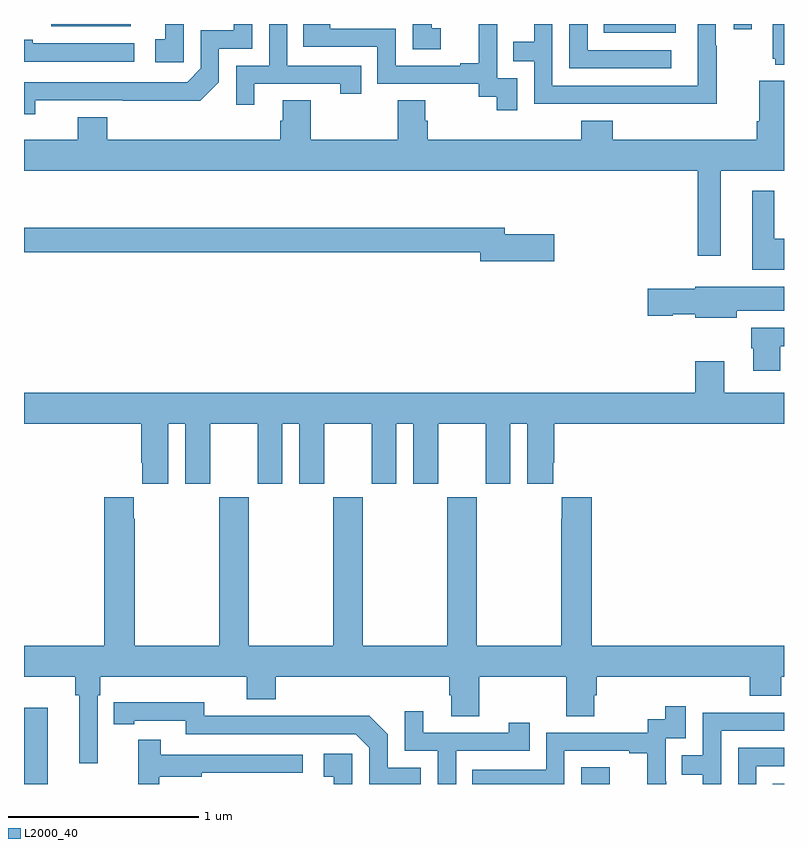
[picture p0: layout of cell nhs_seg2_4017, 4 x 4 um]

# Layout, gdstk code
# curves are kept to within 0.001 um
import gdstk
lib = gdstk.Library(unit=1e-6, precision=1e-09)
def R(c, l, rs):  # rectangles x0, y0, x1, y1
    for r in rs: c.add(gdstk.rectangle(r[:2], r[2:], *l))
def P(c, l, *ps):  # polygons
    for p in ps: c.add(gdstk.Polygon(p, *l))
L2000_40 = (2000, 40)

nhs_seg2_4017 = lib.new_cell('nhs_seg2_4017')
R(nhs_seg2_4017, L2000_40, [(327,585.8,327.124,586.201), (329.934,585.8,330.082,585.889), (330.94,585.8,331,585.802), (330.052,589.754,330.43,589.8), (330.735,589.773,330.831,589.8), (327.143,589.787,327.562,589.8)])
P(nhs_seg2_4017, L2000_40, [(330.645,589.685),(330.642,589.685),(330.642,589.8),(330.546,589.8),(330.546,589.476),(329.781,589.476),(329.781,589.8),(329.685,589.8),(329.685,589.706),(329.575,589.706),(329.575,589.605),(329.685,589.605),(329.685,589.38),(330.181,589.38),(330.181,589.379),(330.645,589.379)],
  [(327.84,589.8),(327.743,589.8),(327.743,589.719),(327.69,589.719),(327.69,589.599),(327.84,589.599)],
  [(329.194,589.777),(329.145,589.777),(329.145,589.8),(329.046,589.8),(329.046,589.668),(329.194,589.668)],
  [(328.213,589.485),(328.664,589.485),(328.664,589.434),(328.775,589.434),(328.775,589.581),(328.386,589.581),(328.386,589.8),(328.29,589.8),(328.29,589.581),(328.116,589.581),(328.116,589.374),(328.213,589.374)],
  [(330.406,589.662),(329.967,589.662),(329.967,589.8),(329.871,589.8),(329.871,589.566),(330.406,589.566)],
  [(331,589.8),(330.941,589.8),(330.941,589.617),(330.953,589.617),(330.953,589.586),(331,589.586)],
  [(327.06,589.398),(327.928,589.397),(328.026,589.494),(328.026,589.671),(328.2,589.671),(328.2,589.8),(328.103,589.8),(328.103,589.767),(327.93,589.767),(327.93,589.566),(327.858,589.494),(327,589.494),(327,589.325),(327.06,589.325)],
  [(329.595,589.515),(329.49,589.515),(329.49,589.745),(329.492,589.745),(329.492,589.8),(329.393,589.8),(329.393,589.594),(329.297,589.594),(329.297,589.581),(328.956,589.581),(328.956,589.776),(328.611,589.776),(328.611,589.8),(328.471,589.8),(328.471,589.68),(328.86,589.68),(328.86,589.485),(329.394,589.485),(329.394,589.417),(329.487,589.417),(329.487,589.347),(329.595,589.347)],
  [(327.58,589.698),(327.047,589.698),(327.047,589.718),(327,589.718),(327,589.602),(327.58,589.602)],
  [(330.546,588.579),(330.667,588.579),(330.667,589.028),(331,589.028),(331,589.501),(330.869,589.501),(330.869,589.288),(330.857,589.288),(330.857,589.192),(330.098,589.192),(330.098,589.291),(329.933,589.291),(329.933,589.192),(329.126,589.192),(329.126,589.29),(329.113,589.29),(329.113,589.4),(328.966,589.4),(328.966,589.192),(328.509,589.192),(328.509,589.4),(328.361,589.4),(328.361,589.29),(328.349,589.29),(328.349,589.192),(327.437,589.192),(327.437,589.309),(327.284,589.309),(327.284,589.192),(327,589.192),(327,589.028),(330.546,589.028)],
  [(331,588.67),(330.949,588.67),(330.949,588.922),(330.833,588.922),(330.833,588.506),(331,588.506)],
  [(329.791,588.693),(329.53,588.693),(329.53,588.727),(327,588.727),(327,588.598),(329.402,588.598),(329.402,588.551),(329.791,588.551)],
  [(330.751,588.29),(331,588.29),(331,588.418),(330.534,588.418),(330.534,588.407),(330.282,588.407),(330.282,588.265),(330.414,588.265),(330.414,588.272),(330.534,588.272),(330.534,588.254),(330.751,588.254)],
  [(330.979,588.105),(331,588.105),(331,588.201),(330.827,588.201),(330.827,588.093),(330.839,588.093),(330.839,587.976),(330.979,587.976)],
  [(327.76,587.696),(327.848,587.696),(327.848,587.379),(327.979,587.379),(327.979,587.696),(328.229,587.696),(328.229,587.379),(328.36,587.379),(328.36,587.696),(328.448,587.696),(328.448,587.379),(328.579,587.379),(328.579,587.696),(328.829,587.696),(328.829,587.379),(328.96,587.379),(328.96,587.696),(329.048,587.696),(329.048,587.379),(329.179,587.379),(329.179,587.696),(329.429,587.696),(329.429,587.379),(329.56,587.379),(329.56,587.696),(329.648,587.696),(329.648,587.379),(329.785,587.379),(329.785,587.491),(329.792,587.491),(329.792,587.696),(331,587.696),(331,587.86),(330.685,587.86),(330.685,588.025),(330.533,588.025),(330.533,587.86),(327,587.86),(327,587.696),(327.617,587.696),(327.617,587.491),(327.623,587.491),(327.623,587.379),(327.76,587.379)],
  [(327.387,586.268),(327.401,586.268),(327.401,586.364),(328.172,586.364),(328.172,586.247),(328.325,586.247),(328.325,586.364),(329.237,586.364),(329.237,586.266),(329.249,586.266),(329.249,586.156),(329.397,586.156),(329.397,586.364),(329.854,586.364),(329.854,586.156),(330.001,586.156),(330.001,586.266),(330.014,586.266),(330.014,586.364),(330.821,586.364),(330.821,586.265),(330.986,586.265),(330.986,586.364),(331,586.364),(331,586.528),(329.987,586.528),(329.987,587.308),(329.831,587.308),(329.831,587.195),(329.827,587.195),(329.827,586.528),(329.382,586.528),(329.382,587.308),(329.227,587.308),(329.227,586.528),(328.782,586.528),(328.782,587.308),(328.627,587.308),(328.627,586.528),(328.182,586.528),(328.182,587.308),(328.027,587.308),(328.027,586.528),(327.582,586.528),(327.582,587.195),(327.577,587.195),(327.577,587.308),(327.422,587.308),(327.422,586.528),(327,586.528),(327,586.364),(327.271,586.364),(327.271,586.268),(327.29,586.268),(327.29,585.909),(327.387,585.909)],
  [(329.088,585.885),(328.914,585.885),(328.914,586.062),(328.816,586.16),(328.408,586.16),(328.408,586.158),(327.948,586.158),(327.948,586.231),(327.472,586.23),(327.472,586.114),(327.58,586.114),(327.58,586.134),(327.852,586.134),(327.852,586.062),(328.746,586.062),(328.818,585.99),(328.818,585.8),(329.088,585.8)],
  [(329.844,585.975),(330.185,585.975),(330.185,585.963),(330.281,585.963),(330.281,585.8),(330.38,585.8),(330.38,585.812),(330.378,585.812),(330.378,586.041),(330.483,586.041),(330.483,586.21),(330.375,586.21),(330.375,586.14),(330.282,586.14),(330.282,586.071),(329.748,586.071),(329.748,585.876),(329.359,585.876),(329.359,585.8),(329.844,585.8)],
  [(329.274,585.975),(329.663,585.975),(329.663,586.123),(329.552,586.123),(329.552,586.071),(329.101,586.071),(329.101,586.183),(329.004,586.183),(329.004,585.975),(329.178,585.975),(329.178,585.8),(329.274,585.8)],
  [(330.669,586.08),(331,586.08),(331,586.176),(330.573,586.176),(330.573,585.951),(330.463,585.951),(330.463,585.85),(330.573,585.85),(330.573,585.8),(330.669,585.8)],
  [(327.712,585.838),(327.935,585.838),(327.935,585.858),(328.468,585.858),(328.468,585.954),(327.719,585.954),(327.719,586.033),(327.602,586.033),(327.602,585.8),(327.712,585.8)],
  [(330.855,585.894),(331,585.894),(331,585.99),(330.759,585.99),(330.759,585.8),(330.855,585.8)],
  [(328.728,585.958),(328.578,585.958),(328.578,585.837),(328.631,585.837),(328.631,585.8),(328.728,585.8)])

lib.write_gds('nhs_seg2_4017.gds')
